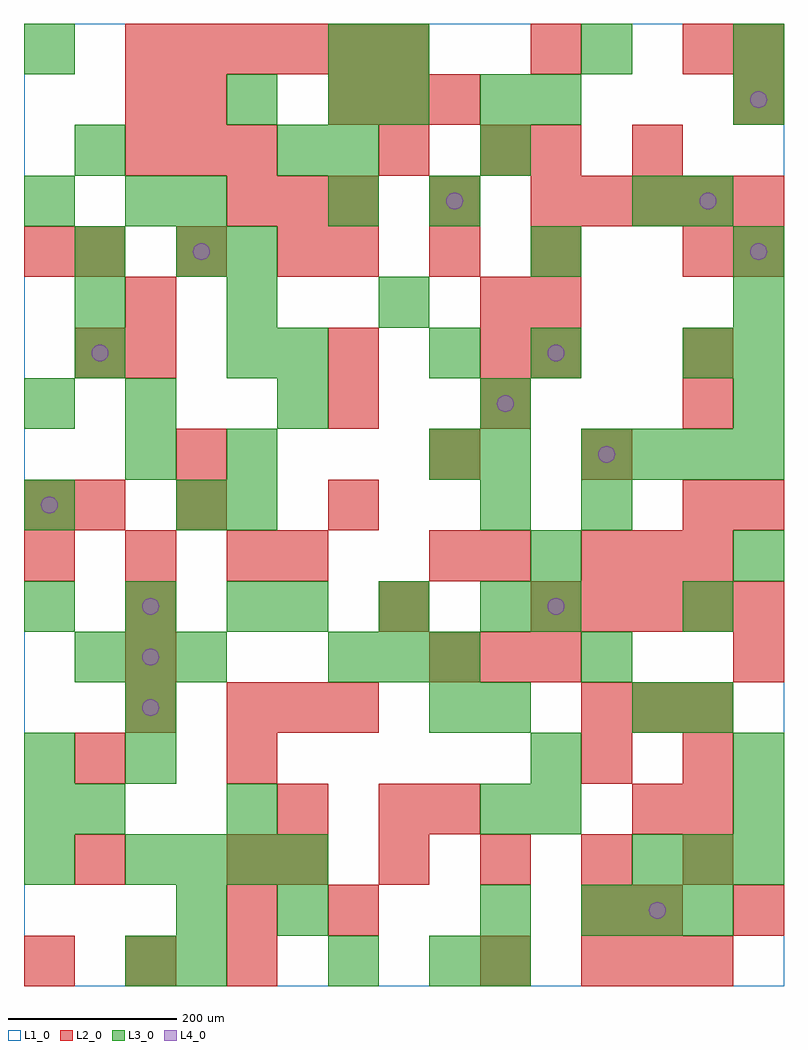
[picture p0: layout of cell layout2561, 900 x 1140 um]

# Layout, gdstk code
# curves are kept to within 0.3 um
import gdstk
lib = gdstk.Library(unit=1e-6, precision=1e-09)
def R(c, l, rs):  # rectangles x0, y0, x1, y1
    for r in rs: c.add(gdstk.rectangle(r[:2], r[2:], *l))
def A(c, l, x, y, w, h, nx, ny, dx, dy):  # array of equal rectangles
    R(c, l, [(x+i*dx, y+j*dy, x+i*dx+w, y+j*dy+h) for i in range(nx) for j in range(ny)])
def P(c, l, *ps):  # polygons
    for p in ps: c.add(gdstk.Polygon(p, *l))
L1_0 = (1, 0)
L2_0 = (2, 0)
L3_0 = (3, 0)
L4_0 = (4, 0)

layout2561 = lib.new_cell('layout2561')
R(layout2561, L1_0, [(0,0,900,1140)])
A(layout2561, L2_0, 0, 0, 60, 60, 3, 2, 120, 480)
A(layout2561, L2_0, 660, 0, 60, 60, 3, 2, 60, 300)
A(layout2561, L2_0, 300, 120, 60, 60, 5, 1, 120, 0)
A(layout2561, L2_0, 120, 300, 60, 60, 1, 3, 0, 60)
A(layout2561, L2_0, 240, 300, 60, 60, 3, 2, 60, 600)
A(layout2561, L2_0, 480, 360, 60, 60, 3, 1, 60, 0)
A(layout2561, L2_0, 600, 420, 60, 60, 5, 2, 60, 480)
A(layout2561, L2_0, 660, 480, 60, 60, 3, 1, 60, 0)
A(layout2561, L2_0, 540, 660, 60, 60, 1, 3, 0, 60)
A(layout2561, L2_0, 60, 840, 60, 60, 3, 1, 120, 0)
A(layout2561, L2_0, 360, 840, 60, 60, 3, 1, 120, 0)
A(layout2561, L2_0, 120, 960, 60, 60, 3, 1, 60, 0)
A(layout2561, L2_0, 360, 1020, 60, 60, 3, 1, 60, 0)
A(layout2561, L2_0, 120, 1080, 60, 60, 6, 1, 60, 0)
R(layout2561, L2_0, [(540,0,600,60), (240,60,300,120), (360,60,420,120), (660,60,720,120), (720,60,780,120), (840,60,900,120), (60,120,120,180), (240,120,300,180), (300,180,360,240), (420,180,480,240), (480,180,540,240), (720,180,780,240), (780,180,840,240), (60,240,120,300), (240,240,300,300), (660,240,720,300), (780,240,840,300), (840,360,900,420), (420,420,480,480), (300,480,360,540), (480,480,540,540), (540,480,600,540), (0,540,60,600), (60,540,120,600), (180,540,240,600), (360,540,420,600), (780,540,840,600), (840,540,900,600), (180,600,240,660), (480,600,540,660), (660,600,720,660), (360,660,420,720), (780,660,840,720), (60,720,120,780), (120,720,180,780), (360,720,420,780), (600,720,660,780), (780,720,840,780), (120,780,180,840), (600,780,660,840), (0,840,60,900), (780,840,840,900), (840,840,900,900), (480,900,540,960), (420,960,480,1020), (540,960,600,1020), (600,960,660,1020), (720,960,780,1020), (120,1020,180,1080), (180,1020,240,1080), (840,1020,900,1080), (600,1080,660,1140), (780,1080,840,1140), (840,1080,900,1140)])
A(layout2561, L3_0, 480, 0, 60, 60, 1, 3, 0, 300)
A(layout2561, L3_0, 540, 60, 60, 60, 1, 3, 0, 120)
A(layout2561, L3_0, 660, 60, 60, 60, 3, 1, 60, 0)
A(layout2561, L3_0, 0, 120, 60, 60, 1, 3, 0, 60)
A(layout2561, L3_0, 120, 120, 60, 60, 4, 1, 60, 0)
A(layout2561, L3_0, 720, 120, 60, 60, 3, 1, 60, 0)
A(layout2561, L3_0, 60, 360, 60, 60, 3, 1, 60, 0)
A(layout2561, L3_0, 360, 360, 60, 60, 3, 1, 60, 0)
A(layout2561, L3_0, 0, 420, 60, 60, 3, 1, 120, 0)
A(layout2561, L3_0, 300, 420, 60, 60, 3, 1, 120, 0)
A(layout2561, L3_0, 540, 540, 60, 60, 1, 3, 0, 60)
A(layout2561, L3_0, 240, 600, 60, 60, 1, 3, 0, 120)
A(layout2561, L3_0, 660, 600, 60, 60, 4, 1, 60, 0)
A(layout2561, L3_0, 840, 660, 60, 60, 1, 4, 0, 60)
A(layout2561, L3_0, 60, 720, 60, 60, 1, 3, 0, 120)
A(layout2561, L3_0, 60, 780, 60, 60, 3, 1, 180, 0)
A(layout2561, L3_0, 360, 900, 60, 60, 1, 4, 0, 60)
R(layout2561, L3_0, [(120,0,180,60), (180,0,240,60), (360,0,420,60), (540,0,600,60), (180,60,240,120), (300,60,360,120), (60,180,120,240), (240,180,300,240), (600,180,660,240), (840,180,900,240), (120,240,180,300), (600,240,660,300), (840,240,900,300), (120,300,180,360), (720,300,780,360), (780,300,840,360), (660,360,720,420), (600,420,660,480), (780,420,840,480), (600,480,660,540), (840,480,900,540), (0,540,60,600), (180,540,240,600), (240,540,300,600), (660,540,720,600), (120,600,180,660), (0,660,60,720), (120,660,180,720), (300,660,360,720), (300,720,360,780), (480,720,540,780), (600,720,660,780), (780,720,840,780), (180,840,240,900), (600,840,660,900), (0,900,60,960), (120,900,180,960), (180,900,240,960), (480,900,540,960), (720,900,780,960), (780,900,840,960), (300,960,360,1020), (540,960,600,1020), (240,1020,300,1080), (420,1020,480,1080), (540,1020,600,1080), (600,1020,660,1080), (840,1020,900,1080), (0,1080,60,1140), (420,1080,480,1140), (660,1080,720,1140), (840,1080,900,1140)])
P(layout2561, L4_0, [(40,570),(39.239,573.827),(37.071,577.071),(33.827,579.239),(30,580),(26.173,579.239),(22.929,577.071),(20.761,573.827),(20,570),(20.761,566.173),(22.929,562.929),(26.173,560.761),(30,560),(33.827,560.761),(37.071,562.929),(39.239,566.173)],
  [(100,750),(99.239,753.827),(97.071,757.071),(93.827,759.239),(90,760),(86.173,759.239),(82.929,757.071),(80.761,753.827),(80,750),(80.761,746.173),(82.929,742.929),(86.173,740.761),(90,740),(93.827,740.761),(97.071,742.929),(99.239,746.173)],
  [(160,330),(159.239,333.827),(157.071,337.071),(153.827,339.239),(150,340),(146.173,339.239),(142.929,337.071),(140.761,333.827),(140,330),(140.761,326.173),(142.929,322.929),(146.173,320.761),(150,320),(153.827,320.761),(157.071,322.929),(159.239,326.173)],
  [(160,390),(159.239,393.827),(157.071,397.071),(153.827,399.239),(150,400),(146.173,399.239),(142.929,397.071),(140.761,393.827),(140,390),(140.761,386.173),(142.929,382.929),(146.173,380.761),(150,380),(153.827,380.761),(157.071,382.929),(159.239,386.173)],
  [(160,450),(159.239,453.827),(157.071,457.071),(153.827,459.239),(150,460),(146.173,459.239),(142.929,457.071),(140.761,453.827),(140,450),(140.761,446.173),(142.929,442.929),(146.173,440.761),(150,440),(153.827,440.761),(157.071,442.929),(159.239,446.173)],
  [(220,870),(219.239,873.827),(217.071,877.071),(213.827,879.239),(210,880),(206.173,879.239),(202.929,877.071),(200.761,873.827),(200,870),(200.761,866.173),(202.929,862.929),(206.173,860.761),(210,860),(213.827,860.761),(217.071,862.929),(219.239,866.173)],
  [(520,930),(519.239,933.827),(517.071,937.071),(513.827,939.239),(510,940),(506.173,939.239),(502.929,937.071),(500.761,933.827),(500,930),(500.761,926.173),(502.929,922.929),(506.173,920.761),(510,920),(513.827,920.761),(517.071,922.929),(519.239,926.173)],
  [(580,690),(579.239,693.827),(577.071,697.071),(573.827,699.239),(570,700),(566.173,699.239),(562.929,697.071),(560.761,693.827),(560,690),(560.761,686.173),(562.929,682.929),(566.173,680.761),(570,680),(573.827,680.761),(577.071,682.929),(579.239,686.173)],
  [(640,450),(639.239,453.827),(637.071,457.071),(633.827,459.239),(630,460),(626.173,459.239),(622.929,457.071),(620.761,453.827),(620,450),(620.761,446.173),(622.929,442.929),(626.173,440.761),(630,440),(633.827,440.761),(637.071,442.929),(639.239,446.173)],
  [(640,750),(639.239,753.827),(637.071,757.071),(633.827,759.239),(630,760),(626.173,759.239),(622.929,757.071),(620.761,753.827),(620,750),(620.761,746.173),(622.929,742.929),(626.173,740.761),(630,740),(633.827,740.761),(637.071,742.929),(639.239,746.173)],
  [(700,630),(699.239,633.827),(697.071,637.071),(693.827,639.239),(690,640),(686.173,639.239),(682.929,637.071),(680.761,633.827),(680,630),(680.761,626.173),(682.929,622.929),(686.173,620.761),(690,620),(693.827,620.761),(697.071,622.929),(699.239,626.173)],
  [(760,90),(759.239,93.827),(757.071,97.071),(753.827,99.239),(750,100),(746.173,99.239),(742.929,97.071),(740.761,93.827),(740,90),(740.761,86.173),(742.929,82.929),(746.173,80.761),(750,80),(753.827,80.761),(757.071,82.929),(759.239,86.173)],
  [(820,930),(819.239,933.827),(817.071,937.071),(813.827,939.239),(810,940),(806.173,939.239),(802.929,937.071),(800.761,933.827),(800,930),(800.761,926.173),(802.929,922.929),(806.173,920.761),(810,920),(813.827,920.761),(817.071,922.929),(819.239,926.173)],
  [(880,870),(879.239,873.827),(877.071,877.071),(873.827,879.239),(870,880),(866.173,879.239),(862.929,877.071),(860.761,873.827),(860,870),(860.761,866.173),(862.929,862.929),(866.173,860.761),(870,860),(873.827,860.761),(877.071,862.929),(879.239,866.173)],
  [(880,1050),(879.239,1053.827),(877.071,1057.071),(873.827,1059.239),(870,1060),(866.173,1059.239),(862.929,1057.071),(860.761,1053.827),(860,1050),(860.761,1046.173),(862.929,1042.929),(866.173,1040.761),(870,1040),(873.827,1040.761),(877.071,1042.929),(879.239,1046.173)])

lib.write_gds('layout2561.gds')
